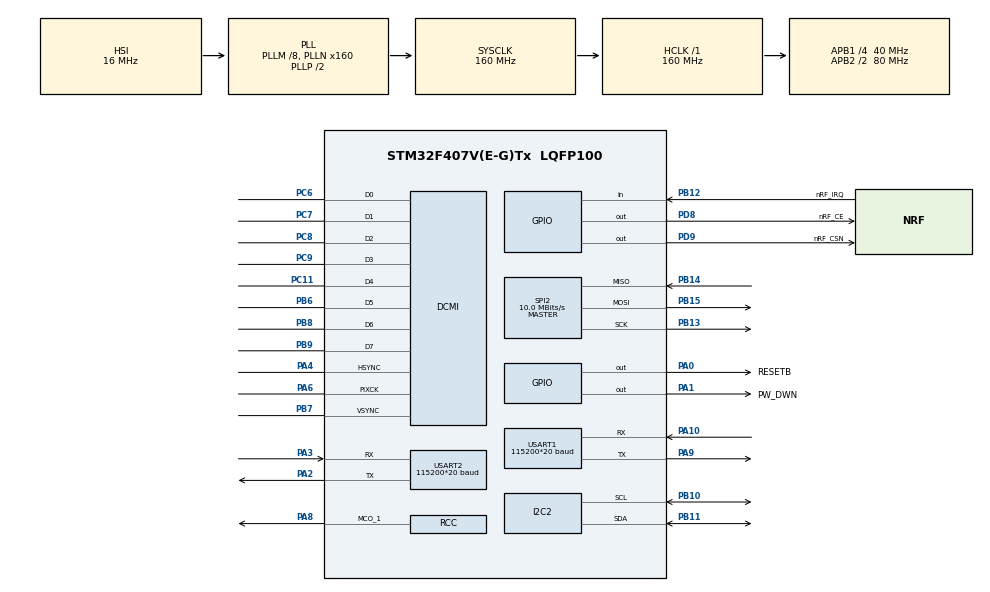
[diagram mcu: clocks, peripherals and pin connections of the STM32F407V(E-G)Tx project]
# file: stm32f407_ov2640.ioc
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DCMI.JPEGMode=DCMI_JPEG_DISABLE
DCMI.PCKPolarity=DCMI_PCKPOLARITY_RISING
DCMI.VSPolarity=DCMI_VSPOLARITY_HIGH
Dma.DCMI.0.Direction=DMA_PERIPH_TO_MEMORY
Dma.DCMI.0.FIFOMode=DMA_FIFOMODE_DISABLE
Dma.DCMI.0.Instance=DMA2_Stream1
Dma.DCMI.0.MemDataAlignment=DMA_MDATAALIGN_WORD
Dma.DCMI.0.MemInc=DMA_MINC_ENABLE
Dma.DCMI.0.Mode=DMA_CIRCULAR
Dma.DCMI.0.PeriphDataAlignment=DMA_PDATAALIGN_WORD
Dma.DCMI.0.PeriphInc=DMA_PINC_DISABLE
Dma.DCMI.0.Priority=DMA_PRIORITY_VERY_HIGH
Dma.Request0=DCMI
Mcu.Family=STM32F4
Mcu.Name=STM32F407V(E-G)Tx
Mcu.Package=LQFP100
NVIC.DCMI_IRQn=true\:0\:0\:false\:false\:true\:true
NVIC.DMA2_Stream1_IRQn=true\:0\:0\:false\:false\:true\:false
NVIC.PriorityGroup=NVIC_PRIORITYGROUP_4
NVIC.USART1_IRQn=true\:0\:0\:false\:false\:true\:true
NVIC.USART2_IRQn=true\:0\:0\:false\:false\:true\:true
PA0-WKUP.GPIO_Label=RESETB
PA0-WKUP.Signal=GPIO_Output
PA1.GPIO_Label=PW_DWN
PA1.Signal=GPIO_Output
PA10.Mode=Asynchronous
PA10.Signal=USART1_RX
PA13.Mode=Serial_Wire
PA13.Signal=SYS_JTMS-SWDIO
PA14.Mode=Serial_Wire
PA14.Signal=SYS_JTCK-SWCLK
PA2.Mode=Asynchronous
PA2.Signal=USART2_TX
PA3.Mode=Asynchronous
PA3.Signal=USART2_RX
PA4.Mode=Slave_8_bits_External_Synchro
PA4.Signal=DCMI_HSYNC
PA6.Mode=Slave_8_bits_External_Synchro
PA6.Signal=DCMI_PIXCK
PA8.Mode=Clock-out-1
PA8.Signal=RCC_MCO_1
PA9.Mode=Asynchronous
PA9.Signal=USART1_TX
PB10.Mode=I2C
PB10.Signal=I2C2_SCL
PB11.Mode=I2C
PB11.Signal=I2C2_SDA
PB12.GPIO_Label=nRF_IRQ
PB12.Signal=GPIO_Input
PB13.Mode=Full_Duplex_Master
PB13.Signal=SPI2_SCK
PB14.Mode=Full_Duplex_Master
PB14.Signal=SPI2_MISO
PB15.Mode=Full_Duplex_Master
PB15.Signal=SPI2_MOSI
PB6.Mode=Slave_8_bits_External_Synchro
PB6.Signal=DCMI_D5
PB7.Mode=Slave_8_bits_External_Synchro
PB7.Signal=DCMI_VSYNC
PB8.Mode=Slave_8_bits_External_Synchro
PB8.Signal=DCMI_D6
PB9.Mode=Slave_8_bits_External_Synchro
PB9.Signal=DCMI_D7
PC11.Mode=Slave_8_bits_External_Synchro
PC11.Signal=DCMI_D4
PC6.Mode=Slave_8_bits_External_Synchro
PC6.Signal=DCMI_D0
PC7.Mode=Slave_8_bits_External_Synchro
PC7.Signal=DCMI_D1
PC8.Mode=Slave_8_bits_External_Synchro
PC8.Signal=DCMI_D2
PC9.Mode=Slave_8_bits_External_Synchro
PC9.Signal=DCMI_D3
PD8.GPIO_Label=nRF_CE
PD8.Signal=GPIO_Output
PD9.GPIO_Label=nRF_CSN
PD9.Signal=GPIO_Output
ProjectManager.HeapSize=0x200
ProjectManager.StackSize=0x400
ProjectManager.TargetToolchain=SW4STM32
RCC.48MHZClocksFreq_Value=80000000
RCC.AHBFreq_Value=160000000
RCC.APB1CLKDivider=RCC_HCLK_DIV4
RCC.APB1Freq_Value=40000000
RCC.APB1TimFreq_Value=80000000
RCC.APB2CLKDivider=RCC_HCLK_DIV2
RCC.APB2Freq_Value=80000000
RCC.APB2TimFreq_Value=160000000
RCC.CortexFreq_Value=160000000
RCC.HCLKFreq_Value=160000000
RCC.HSE_VALUE=25000000
RCC.HSI_VALUE=16000000
RCC.LSE_VALUE=32768
RCC.PLLM=8
RCC.PLLN=160
RCC.RCC_MCO1Source=RCC_MCO1SOURCE_PLLCLK
RCC.RCC_MCODiv1=RCC_MCODIV_5
RCC.SYSCLKFreq_VALUE=160000000
RCC.SYSCLKSource=RCC_SYSCLKSOURCE_PLLCLK
RCC.VCOOutputFreq_Value=320000000
SPI2.BaudRatePrescaler=SPI_BAUDRATEPRESCALER_4
SPI2.CalculateBaudRate=10.0 MBits/s
SPI2.Direction=SPI_DIRECTION_2LINES
SPI2.Mode=SPI_MODE_MASTER
SPI2.VirtualType=VM_MASTER
USART1.BaudRate=115200*20
USART1.VirtualMode=VM_ASYNC
USART2.BaudRate=115200*20
USART2.VirtualMode=VM_ASYNC
board=stm32f407_ov2640

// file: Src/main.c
/**
  ******************************************************************************
  * File Name          : main.c
  * Description        : Main program body
  ******************************************************************************
  ** This notice applies to any and all portions of this file
  * that are not between comment pairs USER CODE BEGIN and
  * USER CODE END. Other portions of this file, whether
  * inserted by the user or by software development tools
  * are owned by their respective copyright owners.
  *
  * COPYRIGHT(c) 2019 STMicroelectronics
  *
  * Redistribution and use in source and binary forms, with or without modification,
  * are permitted provided that the following conditions are met:
  *   1. Redistributions of source code must retain the above copyright notice,
  *      this list of conditions and the following disclaimer.
  *   2. Redistributions in binary form must reproduce the above copyright notice,
  *      this list of conditions and the following disclaimer in the documentation
  *      and/or other materials provided with the distribution.
  *   3. Neither the name of STMicroelectronics nor the names of its contributors
  *      may be used to endorse or promote products derived from this software
  *      without specific prior written permission.
  *
  * THIS SOFTWARE IS PROVIDED BY THE COPYRIGHT HOLDERS AND CONTRIBUTORS "AS IS"
  * AND ANY EXPRESS OR IMPLIED WARRANTIES, INCLUDING, BUT NOT LIMITED TO, THE
  * IMPLIED WARRANTIES OF MERCHANTABILITY AND FITNESS FOR A PARTICULAR PURPOSE ARE
  * DISCLAIMED. IN NO EVENT SHALL THE COPYRIGHT HOLDER OR CONTRIBUTORS BE LIABLE
  * FOR ANY DIRECT, INDIRECT, INCIDENTAL, SPECIAL, EXEMPLARY, OR CONSEQUENTIAL
  * DAMAGES (INCLUDING, BUT NOT LIMITED TO, PROCUREMENT OF SUBSTITUTE GOODS OR
  * SERVICES; LOSS OF USE, DATA, OR PROFITS; OR BUSINESS INTERRUPTION) HOWEVER
  * CAUSED AND ON ANY THEORY OF LIABILITY, WHETHER IN CONTRACT, STRICT LIABILITY,
  * OR TORT (INCLUDING NEGLIGENCE OR OTHERWISE) ARISING IN ANY WAY OUT OF THE USE
  * OF THIS SOFTWARE, EVEN IF ADVISED OF THE POSSIBILITY OF SUCH DAMAGE.
  *
  ******************************************************************************
  */
#include "main.h"
#include "stm32f4xx_hal.h"

/* USER CODE BEGIN Includes */

#include "ov2640.h"

/* USER CODE END Includes */

DCMI_HandleTypeDef hdcmi;
DMA_HandleTypeDef hdma_dcmi;

I2C_HandleTypeDef hi2c2;

SPI_HandleTypeDef hspi2;

UART_HandleTypeDef huart1;
UART_HandleTypeDef huart2;

/* USER CODE BEGIN PV */
/* Private variables ---------------------------------------------------------*/

extern unsigned char RX_ready;
extern unsigned char RX_cmd[16];
extern volatile unsigned char RX_cmd_get;
extern unsigned char RX_value[16];
extern unsigned char RX_cmd_cnt;
extern volatile unsigned char RX_pos;
extern unsigned char RX_len;

/* USER CODE END PV */

void SystemClock_Config(void);
static void MX_GPIO_Init(void);
static void MX_DMA_Init(void);
static void MX_DCMI_Init(void);
static void MX_I2C2_Init(void);
static void MX_USART1_UART_Init(void);
static void MX_USART2_UART_Init(void);
static void MX_SPI2_Init(void);

/* USER CODE BEGIN PFP */
/* Private function prototypes -----------------------------------------------*/

void SendData(unsigned char * buff, int len);
#define IRQ HAL_GPIO_ReadPin(nRF_IRQ_GPIO_Port, nRF_IRQ_Pin)

/* USER CODE END PFP */

/* USER CODE BEGIN 0 */

#include <stdarg.h>
#include <string.h> //strlen()

void Printf(const char *fmt, ...)
{return;
	static char buf[256];
	char *p;
	va_list lst;

	va_start(lst, fmt);
	vsprintf(buf, fmt, lst);
	va_end(lst);

	p = buf;
	HAL_UART_Transmit(&huart2, (unsigned char *)p, strlen(p), 500);
	HAL_UART_Transmit(&huart1, (unsigned char *)p, strlen(p), 500);
	/*while(*p) {
		HAL_UART_Transmit(&huart1, (unsigned char *)p, 1, 500);
		p++;
	}*/
}

int SCCB_Write(uint8_t addr, uint8_t data)	// Send data to the Camera on the I2C interface
{
	uint8_t Data[] = {addr, data};
	int ret = HAL_I2C_Master_Transmit(&hi2c2, OV9655_DEVICE_WRITE_ADDRESS, Data, 2, 100);
	HAL_Delay(2);
	return ret;
}

int OV2640_Settings(int format, int sat , int precision)
{
	int i=0;

	if (format != -1){
		if(format == 1) {//OV2640_352x288_JPEG
				for(i=0; i<(sizeof(OV2640_352x288_JPEG)/2); i++)	//OV2640_320x240_JPEG
				SCCB_Write(OV2640_352x288_JPEG[i][0], OV2640_352x288_JPEG[i][1]);
		}
		else if(format == 2) {
				for(i=0; i<(sizeof(OV2640_640x480_JPEG)/2); i++)
				SCCB_Write(OV2640_640x480_JPEG[i][0], OV2640_640x480_JPEG[i][1]);
		}
		else if(format == 3) {
				for(i=0; i<(sizeof(OV2640_800x600_JPEG)/2); i++)
				SCCB_Write(OV2640_800x600_JPEG[i][0], OV2640_800x600_JPEG[i][1]);
		}
		else if(format == 4) {
				for(i=0; i<(sizeof(OV2640_1024x768_JPEG)/2); i++)
				SCCB_Write(OV2640_1024x768_JPEG[i][0], OV2640_1024x768_JPEG[i][1]);
		}
		else if(format == 5) {
				for(i=0; i<(sizeof(OV2640_1280x1024_JPEG)/2); i++)
				SCCB_Write(OV2640_1280x1024_JPEG[i][0], OV2640_1280x1024_JPEG[i][1]);
		}
		else if(format == 6) {
				for(i=0; i<(sizeof(OV2640_1600x1200_JPEG)/2); i++)
				SCCB_Write(OV2640_1600x1200_JPEG[i][0], OV2640_1600x1200_JPEG[i][1]);
		}

	}
	if (sat != -1){	// Color Saturation
		SCCB_Write(0xff, 0x00);
		SCCB_Write(0x7c, 0x00);
		SCCB_Write(0x7d, 0x02);
		SCCB_Write(0x7c, 0x03);
		if(sat){
			SCCB_Write(0x7d, 0x48);
			SCCB_Write(0x7d, 0x48);
		}
		else{
			SCCB_Write(0x7d, 0x0);
			SCCB_Write(0x7d, 0x0);
		}

	}
	if (precision != -1){
		SCCB_Write(0xFF, 0x00); // {0x44, 0x10},
		SCCB_Write(0x44, precision); //5-63
	}

	return 0;

}

#define BUFFER_SIZE 60*1024

unsigned char Camera_buff_n1[BUFFER_SIZE];	// Buffer 1 for JPEG image
unsigned char Camera_buff_n2[BUFFER_SIZE];	// Buffer 2 for JPEG image

int currDMADataCounter = 0;	// Length of last image
int DataExist = 0;			// Data in Buffer is exist
int NChannel = 0;			// Switch Channel of Buffer

void HAL_DCMI_FrameEventCallback(DCMI_HandleTypeDef *hdcmi)
{
	int ndtr = hdcmi->DMA_Handle->Instance->NDTR;
	currDMADataCounter = (BUFFER_SIZE-ndtr)*4;
	HAL_DCMI_Stop(hdcmi);

	__HAL_DCMI_ENABLE_IT(hdcmi, DCMI_IT_FRAME);	 // Enable next irq
	if (NChannel == 0){
		HAL_DCMI_Start_DMA(hdcmi, DCMI_MODE_SNAPSHOT, (uint32_t)&Camera_buff_n1, BUFFER_SIZE);	//Start of DMA for get one image in Buffer 1
	}
	else  {
		HAL_DCMI_Start_DMA(hdcmi, DCMI_MODE_SNAPSHOT, (uint32_t)&Camera_buff_n2, BUFFER_SIZE);	//Start of DMA for get one image in Buffer 2
	}

	DataExist = 1;	// Data in Buffer Exist

}

void HAL_SYSTICK_Callback(void)
{

}

/* USER CODE END 0 */

int main(void)
{

  /* MCU Configuration----------------------------------------------------------*/

  /* Reset of all peripherals, Initializes the Flash interface and the Systick. */
  HAL_Init();

  /* Configure the system clock */
  SystemClock_Config();

  /* Initialize all configured peripherals */
  MX_GPIO_Init();
  MX_DMA_Init();
  MX_DCMI_Init();
  MX_I2C2_Init();
  MX_USART1_UART_Init();
  MX_USART2_UART_Init();
  MX_SPI2_Init();

  /* USER CODE BEGIN 2 */

  __HAL_UART_ENABLE_IT(&huart1, UART_IT_RXNE);	// Enable Interrupt UART1
  __HAL_UART_ENABLE_IT(&huart2, UART_IT_RXNE);	// Enable Interrupt UART2

  HAL_GPIO_WritePin(RESETB_GPIO_Port, RESETB_Pin, GPIO_PIN_SET);
  HAL_GPIO_WritePin(PW_DWN_GPIO_Port, PW_DWN_Pin, GPIO_PIN_RESET);

  HAL_RCC_MCOConfig(RCC_MCO1, RCC_MCO1SOURCE_PLLCLK, RCC_MCODIV_5);	 // set the output frequency to 32 MHz in the Camera

  __HAL_DCMI_ENABLE_IT(&hdcmi, DCMI_IT_FRAME);		// Enable Interrupt DCMI

  HAL_Delay(100);

  /* USER CODE END 2 */

  /* Infinite loop */
  /* USER CODE BEGIN WHILE */
  while (1)
  {
	  int i=0;

	  int ret = SCCB_Write(0x12, 0x80);	// SET Cmd Power on

	  if (ret == 0){
		  HAL_Delay(1000);

		  for(i=0; (i<(sizeof(OV9655_QVGA)/2) && (ret == 0)); i++)	// init sequence for Camera
		  {
			ret = SCCB_Write(OV9655_QVGA[i][0], OV9655_QVGA[i][1]);
		  }
		  Printf("init %d, cnt=%d\r\n", ret, i);

		  ret = OV2640_Settings(1, 1, 100);	// Set advanced settings

		  if (ret == 0){	// If no problem...

			  HAL_DCMI_Start_DMA(&hdcmi, DCMI_MODE_SNAPSHOT, (uint32_t)&Camera_buff_n1, BUFFER_SIZE);	//Start of DMA for get one image in Buffer 1

			  while(1){

				if (RX_cmd_get !=0){	// if rx command for get image
					RX_cmd_get=0;		// clear flag

					while(DataExist == 0){};		// expect image
					if (NChannel == 0){	// Get data from buffer with image (DMA working in another buffer)
						SendData(Camera_buff_n2, currDMADataCounter);	// Send data to output
					}
					else  {
						SendData(Camera_buff_n1, currDMADataCounter);	// Send data to output
					}
					DataExist=0;
					if (++NChannel>=2)NChannel=0;	// Switch Buffer

				}

				if ((RX_ready==1)&&(RX_cmd_cnt != 0)){	// if Rx command to change Settings

					int format = 2;
					int sat = 1;
					int precision = 40;
					int count = 0;
					for (count = 0; count<RX_cmd_cnt; count++){
						if (RX_cmd[count] == 0x00) format = RX_value[count];
						else if (RX_cmd[count] == 0x01) sat = RX_value[count];
						else if (RX_cmd[count] == 0x44) precision = RX_value[count];
					}
					OV2640_Settings(format, sat, precision);	// Set new settings
					RX_cmd_cnt=0; // clear flag
				}

			  }

		  }

	  }
	  else{
		  Printf("error return is %d\n\r", ret);
	  }
	  HAL_Delay(10*1000);

  /* USER CODE END WHILE */

  }

}

/** System Clock Configuration
*/
void SystemClock_Config(void)
{

  RCC_OscInitTypeDef RCC_OscInitStruct;
  RCC_ClkInitTypeDef RCC_ClkInitStruct;

    /**Configure the main internal regulator output voltage
    */
  __HAL_RCC_PWR_CLK_ENABLE();

  __HAL_PWR_VOLTAGESCALING_CONFIG(PWR_REGULATOR_VOLTAGE_SCALE1);

    /**Initializes the CPU, AHB and APB busses clocks
    */
  RCC_OscInitStruct.OscillatorType = RCC_OSCILLATORTYPE_HSI;
  RCC_OscInitStruct.HSIState = RCC_HSI_ON;
  RCC_OscInitStruct.HSICalibrationValue = 16;
  RCC_OscInitStruct.PLL.PLLState = RCC_PLL_ON;
  RCC_OscInitStruct.PLL.PLLSource = RCC_PLLSOURCE_HSI;
  RCC_OscInitStruct.PLL.PLLM = 8;
  RCC_OscInitStruct.PLL.PLLN = 160;
  RCC_OscInitStruct.PLL.PLLP = RCC_PLLP_DIV2;
  RCC_OscInitStruct.PLL.PLLQ = 4;
  if (HAL_RCC_OscConfig(&RCC_OscInitStruct) != HAL_OK)
  {
    _Error_Handler(__FILE__, __LINE__);
  }

    /**Initializes the CPU, AHB and APB busses clocks
    */
  RCC_ClkInitStruct.ClockType = RCC_CLOCKTYPE_HCLK|RCC_CLOCKTYPE_SYSCLK
                              |RCC_CLOCKTYPE_PCLK1|RCC_CLOCKTYPE_PCLK2;
  RCC_ClkInitStruct.SYSCLKSource = RCC_SYSCLKSOURCE_PLLCLK;
  RCC_ClkInitStruct.AHBCLKDivider = RCC_SYSCLK_DIV1;
  RCC_ClkInitStruct.APB1CLKDivider = RCC_HCLK_DIV4;
  RCC_ClkInitStruct.APB2CLKDivider = RCC_HCLK_DIV2;

  if (HAL_RCC_ClockConfig(&RCC_ClkInitStruct, FLASH_LATENCY_5) != HAL_OK)
  {
    _Error_Handler(__FILE__, __LINE__);
  }

  HAL_RCC_MCOConfig(RCC_MCO1, RCC_MCO1SOURCE_PLLCLK, RCC_MCODIV_5);

    /**Configure the Systick interrupt time
    */
  HAL_SYSTICK_Config(HAL_RCC_GetHCLKFreq()/1000);

    /**Configure the Systick
    */
  HAL_SYSTICK_CLKSourceConfig(SYSTICK_CLKSOURCE_HCLK);

  /* SysTick_IRQn interrupt configuration */
  HAL_NVIC_SetPriority(SysTick_IRQn, 0, 0);
}

/* DCMI init function */
static void MX_DCMI_Init(void)
{

  hdcmi.Instance = DCMI;
  hdcmi.Init.SynchroMode = DCMI_SYNCHRO_HARDWARE;
  hdcmi.Init.PCKPolarity = DCMI_PCKPOLARITY_RISING;
  hdcmi.Init.VSPolarity = DCMI_VSPOLARITY_HIGH;
  hdcmi.Init.HSPolarity = DCMI_HSPOLARITY_LOW;
  hdcmi.Init.CaptureRate = DCMI_CR_ALL_FRAME;
  hdcmi.Init.ExtendedDataMode = DCMI_EXTEND_DATA_8B;
  hdcmi.Init.JPEGMode = DCMI_JPEG_DISABLE;
  if (HAL_DCMI_Init(&hdcmi) != HAL_OK)
  {
    _Error_Handler(__FILE__, __LINE__);
  }

}

/* I2C2 init function */
static void MX_I2C2_Init(void)
{

  hi2c2.Instance = I2C2;
  hi2c2.Init.ClockSpeed = 100000;
  hi2c2.Init.DutyCycle = I2C_DUTYCYCLE_2;
  hi2c2.Init.OwnAddress1 = 0;
  hi2c2.Init.AddressingMode = I2C_ADDRESSINGMODE_7BIT;
  hi2c2.Init.DualAddressMode = I2C_DUALADDRESS_DISABLE;
  hi2c2.Init.OwnAddress2 = 0;
  hi2c2.Init.GeneralCallMode = I2C_GENERALCALL_DISABLE;
  hi2c2.Init.NoStretchMode = I2C_NOSTRETCH_DISABLE;
  if (HAL_I2C_Init(&hi2c2) != HAL_OK)
  {
    _Error_Handler(__FILE__, __LINE__);
  }

}

/* SPI2 init function */
static void MX_SPI2_Init(void)
{

  /* SPI2 parameter configuration*/
  hspi2.Instance = SPI2;
  hspi2.Init.Mode = SPI_MODE_MASTER;
  hspi2.Init.Direction = SPI_DIRECTION_2LINES;
  hspi2.Init.DataSize = SPI_DATASIZE_8BIT;
  hspi2.Init.CLKPolarity = SPI_POLARITY_LOW;
  hspi2.Init.CLKPhase = SPI_PHASE_1EDGE;
  hspi2.Init.NSS = SPI_NSS_SOFT;
  hspi2.Init.BaudRatePrescaler = SPI_BAUDRATEPRESCALER_4;
  hspi2.Init.FirstBit = SPI_FIRSTBIT_MSB;
  hspi2.Init.TIMode = SPI_TIMODE_DISABLE;
  hspi2.Init.CRCCalculation = SPI_CRCCALCULATION_DISABLE;
  hspi2.Init.CRCPolynomial = 10;
  if (HAL_SPI_Init(&hspi2) != HAL_OK)
  {
    _Error_Handler(__FILE__, __LINE__);
  }

}

/* USART1 init function */
static void MX_USART1_UART_Init(void)
{

  huart1.Instance = USART1;
  huart1.Init.BaudRate = 115200*20;
  huart1.Init.WordLength = UART_WORDLENGTH_8B;
  huart1.Init.StopBits = UART_STOPBITS_1;
  huart1.Init.Parity = UART_PARITY_NONE;
  huart1.Init.Mode = UART_MODE_TX_RX;
  huart1.Init.HwFlowCtl = UART_HWCONTROL_NONE;
  huart1.Init.OverSampling = UART_OVERSAMPLING_16;
  if (HAL_UART_Init(&huart1) != HAL_OK)
  {
    _Error_Handler(__FILE__, __LINE__);
  }

}

/* USART2 init function */
static void MX_USART2_UART_Init(void)
{

  huart2.Instance = USART2;
  huart2.Init.BaudRate = 115200*20;
  huart2.Init.WordLength = UART_WORDLENGTH_8B;
  huart2.Init.StopBits = UART_STOPBITS_1;
  huart2.Init.Parity = UART_PARITY_NONE;
  huart2.Init.Mode = UART_MODE_TX_RX;
  huart2.Init.HwFlowCtl = UART_HWCONTROL_NONE;
  huart2.Init.OverSampling = UART_OVERSAMPLING_16;
  if (HAL_UART_Init(&huart2) != HAL_OK)
  {
    _Error_Handler(__FILE__, __LINE__);
  }

}

static void MX_DMA_Init(void)
{
  /* DMA controller clock enable */
  __HAL_RCC_DMA2_CLK_ENABLE();

  /* DMA interrupt init */
  /* DMA2_Stream1_IRQn interrupt configuration */
  HAL_NVIC_SetPriority(DMA2_Stream1_IRQn, 0, 0);
  HAL_NVIC_EnableIRQ(DMA2_Stream1_IRQn);

}

/** Configure pins as
        * Analog
        * Input
        * Output
        * EVENT_OUT
        * EXTI
     PA8   ------> RCC_MCO_1
*/
static void MX_GPIO_Init(void)
{

  GPIO_InitTypeDef GPIO_InitStruct;

  /* GPIO Ports Clock Enable */
  __HAL_RCC_GPIOA_CLK_ENABLE();
  __HAL_RCC_GPIOB_CLK_ENABLE();
  __HAL_RCC_GPIOD_CLK_ENABLE();
  __HAL_RCC_GPIOC_CLK_ENABLE();

  /*Configure GPIO pin Output Level */
  HAL_GPIO_WritePin(GPIOA, RESETB_Pin|PW_DWN_Pin, GPIO_PIN_RESET);

  /*Configure GPIO pin Output Level */
  HAL_GPIO_WritePin(GPIOD, nRF_CE_Pin|nRF_CSN_Pin, GPIO_PIN_RESET);

  /*Configure GPIO pins : RESETB_Pin PW_DWN_Pin */
  GPIO_InitStruct.Pin = RESETB_Pin|PW_DWN_Pin;
  GPIO_InitStruct.Mode = GPIO_MODE_OUTPUT_PP;
  GPIO_InitStruct.Pull = GPIO_NOPULL;
  GPIO_InitStruct.Speed = GPIO_SPEED_FREQ_LOW;
  HAL_GPIO_Init(GPIOA, &GPIO_InitStruct);

  /*Configure GPIO pin : nRF_IRQ_Pin */
  GPIO_InitStruct.Pin = nRF_IRQ_Pin;
  GPIO_InitStruct.Mode = GPIO_MODE_INPUT;
  GPIO_InitStruct.Pull = GPIO_NOPULL;
  HAL_GPIO_Init(nRF_IRQ_GPIO_Port, &GPIO_InitStruct);

  /*Configure GPIO pins : nRF_CE_Pin nRF_CSN_Pin */
  GPIO_InitStruct.Pin = nRF_CE_Pin|nRF_CSN_Pin;
  GPIO_InitStruct.Mode = GPIO_MODE_OUTPUT_PP;
  GPIO_InitStruct.Pull = GPIO_NOPULL;
  GPIO_InitStruct.Speed = GPIO_SPEED_FREQ_LOW;
  HAL_GPIO_Init(GPIOD, &GPIO_InitStruct);

  /*Configure GPIO pin : PA8 */
  GPIO_InitStruct.Pin = GPIO_PIN_8;
  GPIO_InitStruct.Mode = GPIO_MODE_AF_PP;
  GPIO_InitStruct.Pull = GPIO_NOPULL;
  GPIO_InitStruct.Speed = GPIO_SPEED_FREQ_LOW;
  GPIO_InitStruct.Alternate = GPIO_AF0_MCO;
  HAL_GPIO_Init(GPIOA, &GPIO_InitStruct);

}

/* USER CODE BEGIN 4 */

unsigned char BuffToTx[32];

unsigned char ks = 0;				// for crc calculate

void Send_char(char symbol)
{
	ks ^= symbol;
	HAL_UART_Transmit(&huart2, (unsigned char *)&symbol, 1, 100);

}

void SendData(unsigned char * buff, int len)																																																		// SendUART
{

	unsigned int num = len;				// size image
	unsigned char * copy_from = buff;	// bufer image

	unsigned char num_s[4];

	if (num> (BUFFER_SIZE)) return;	// can not be!!

	num_s[0] = ((num>>(3*8))&0xFF);	// convert "int" in 4 byte
	num_s[1] = ((num>>(2*8))&0xFF);
	num_s[2] = ((num>>(1*8))&0xFF);
	num_s[3] = ((num>>(0*8))&0xFF);

	ks = 0;	// Clear CRC calculate

	Send_char(0x01);	// pointer to start cmd

	ks = 0x00;

	// Send cmd...
	Send_char('J');
	Send_char('P');
	Send_char('E');
	Send_char('G');
	Send_char('1');
	Send_char('.');
	Send_char('0');
	Send_char(num_s[0]);
	Send_char(num_s[1]);
	Send_char(num_s[2]);
	Send_char(num_s[3]);
	Send_char(ks);	// Send CRC

	while(num--)	// Send Data of image
	{
		unsigned char cRead = *copy_from++;
		Send_char(cRead);

	}
	Send_char(ks);  // send CRC

}

/* USER CODE END 4 */

void _Error_Handler(char * file, int line)
{
  while(1)
  {
  }
}

/************************ (C) COPYRIGHT STMicroelectronics *****END OF FILE****/
